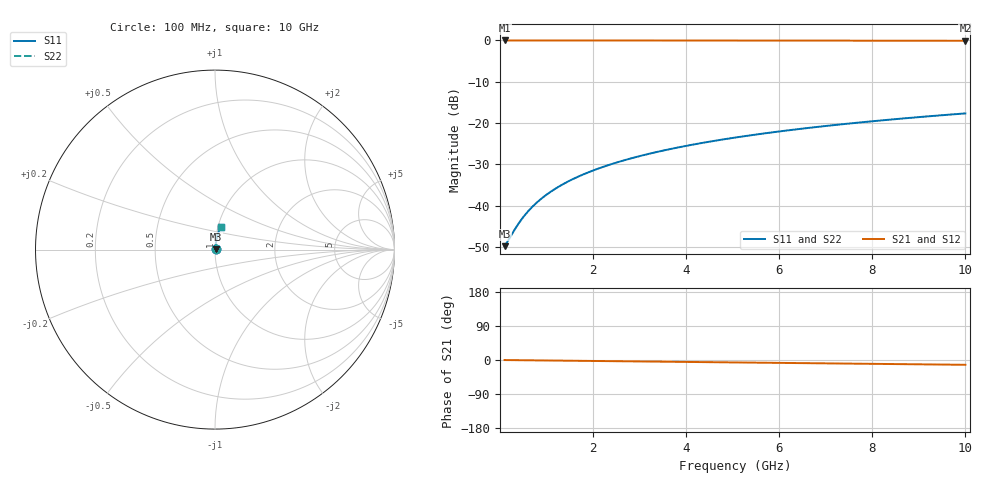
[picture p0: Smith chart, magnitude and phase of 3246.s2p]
# Hz S RI R 50.00
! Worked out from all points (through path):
!   100 points, 100 MHz to 10 GHz, reference 50 ohm
!   highest |S21| = -0.03 dB at 100 MHz (marker M1); lowest = -0.1 dB at 10 GHz (marker M2)
!   group delay of S21, straight-line fit = 3.52 ps
!   lowest |S11| = -49.8 dB at 100 MHz (marker M3), VSWR 1.01, Z = 50.3 + j0.132 ohm
!   |S11| at or under -10 dB: start of sweep to end of sweep
!   |S22| runs from -49.8 to -17.7 dB; largest |S21 - S12| = 0
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1e8  0.00294 0.00131  0.9971 -0.00221  0.9971 -0.00221  0.00294 0.00131
2e8  0.00297 0.00262  0.997 -0.00442  0.997 -0.00442  0.00297 0.00262
3e8  0.003 0.00394  0.997 -0.00662  0.997 -0.00662  0.003 0.00394
4e8  0.00303 0.00525  0.997 -0.00883  0.997 -0.00883  0.00303 0.00525
5e8  0.00306 0.00656  0.9969 -0.011  0.9969 -0.011  0.00306 0.00656
6e8  0.0031 0.00787  0.9969 -0.0132  0.9969 -0.0132  0.0031 0.00787
7e8  0.00315 0.00918  0.9968 -0.0155  0.9968 -0.0155  0.00315 0.00918
8e8  0.0032 0.0105  0.9968 -0.0177  0.9968 -0.0177  0.0032 0.0105
1e9  0.00332 0.0131  0.9966 -0.0221  0.9966 -0.0221  0.00332 0.0131
1.2e9  0.00345 0.0157  0.9965 -0.0265  0.9965 -0.0265  0.00345 0.0157
1.5e9  0.0037 0.0197  0.9962 -0.0331  0.9962 -0.0331  0.0037 0.0197
1.8e9  0.004 0.0236  0.9958 -0.0397  0.9958 -0.0397  0.004 0.0236
2.1e9  0.00436 0.0275  0.9954 -0.0463  0.9954 -0.0463  0.00436 0.0275
2.5e9  0.0049 0.0327  0.9948 -0.0551  0.9948 -0.0551  0.0049 0.0327
2.9e9  0.00554 0.0379  0.9941 -0.0639  0.9941 -0.0639  0.00554 0.0379
3.4e9  0.00647 0.0444  0.993 -0.0749  0.993 -0.0749  0.00647 0.0444
4.2e9  0.00825 0.0547  0.991 -0.0924  0.991 -0.0924  0.00825 0.0547
5.1e9  0.0107 0.0662  0.9882 -0.112  0.9882 -0.112  0.0107 0.0662
5.9e9  0.0132 0.0764  0.9853 -0.1294  0.9853 -0.1294  0.0132 0.0764
6.7e9  0.0161 0.0864  0.982 -0.1466  0.982 -0.1466  0.0161 0.0864
8.4e9  0.0234 0.1074  0.9736 -0.1829  0.9736 -0.1829  0.0234 0.1074
1e10  0.0317 0.1265  0.9641 -0.2165  0.9641 -0.2165  0.0317 0.1265
